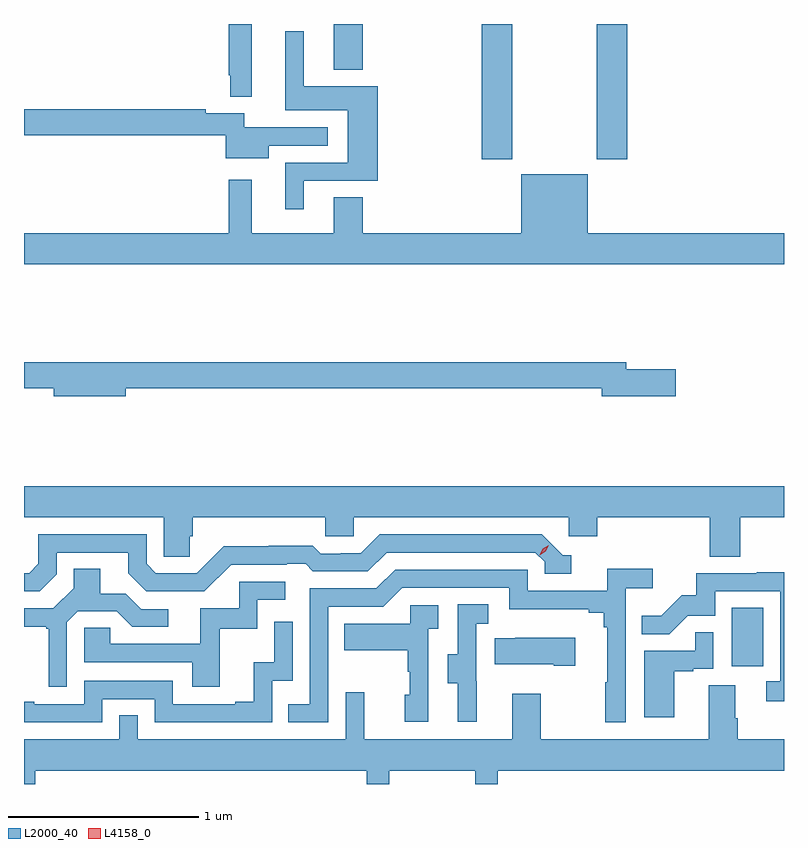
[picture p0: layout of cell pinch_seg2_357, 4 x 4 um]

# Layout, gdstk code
import gdstk
lib = gdstk.Library(unit=1e-6, precision=1e-09)
def R(c, l, rs):  # rectangles x0, y0, x1, y1
    for r in rs: c.add(gdstk.rectangle(r[:2], r[2:], *l))
def P(c, l, *ps):  # polygons
    for p in ps: c.add(gdstk.Polygon(p, *l))
L2000_40 = (2000, 40)
L4158_0 = (4158, 0)

pinch_seg2_357 = lib.new_cell('pinch_seg2_357')
R(pinch_seg2_357, L2000_40, [(1014.512,638.862,1014.676,639.169), (1013.195,641.529,1013.355,642.241), (1013.8,641.529,1013.96,642.241), (1012.415,641.999,1012.568,642.241)])
P(pinch_seg2_357, L2000_40, [(1011.985,642.241),(1011.864,642.241),(1011.864,641.971),(1011.872,641.971),(1011.872,641.859),(1011.985,641.859)],
  [(1012.258,641.415),(1012.649,641.415),(1012.649,641.914),(1012.258,641.914),(1012.258,642.202),(1012.16,642.202),(1012.16,641.786),(1012.49,641.786),(1012.49,641.511),(1012.16,641.511),(1012.16,641.265),(1012.258,641.265)],
  [(1012.075,641.601),(1012.384,641.601),(1012.384,641.697),(1011.945,641.697),(1011.945,641.772),(1011.742,641.772),(1011.742,641.792),(1010.786,641.792),(1010.786,641.656),(1011.849,641.656),(1011.849,641.534),(1012.075,641.534)],
  [(1014.786,641.14),(1013.752,641.14),(1013.752,641.449),(1013.402,641.449),(1013.402,641.14),(1012.568,641.14),(1012.568,641.33),(1012.415,641.33),(1012.415,641.14),(1011.985,641.14),(1011.985,641.422),(1011.864,641.422),(1011.864,641.14),(1010.786,641.14),(1010.786,640.976),(1014.786,640.976)],
  [(1011.322,640.324),(1013.828,640.324),(1013.828,640.282),(1014.217,640.282),(1014.217,640.424),(1013.956,640.424),(1013.956,640.46),(1010.786,640.46),(1010.786,640.324),(1010.942,640.324),(1010.942,640.282),(1011.322,640.282)],
  [(1011.659,639.546),(1011.674,639.546),(1011.674,639.644),(1012.371,639.644),(1012.371,639.546),(1012.521,639.546),(1012.521,639.644),(1013.652,639.644),(1013.652,639.546),(1013.804,639.546),(1013.804,639.644),(1014.395,639.644),(1014.395,639.436),(1014.555,639.436),(1014.555,639.644),(1014.786,639.644),(1014.786,639.808),(1010.786,639.808),(1010.786,639.644),(1011.522,639.644),(1011.522,639.436),(1011.659,639.436)],
  [(1010.958,639.345),(1010.958,639.459),(1011.335,639.459),(1011.335,639.349),(1011.429,639.255),(1011.735,639.255),(1011.876,639.396),(1012.169,639.396),(1012.169,639.399),(1012.268,639.399),(1012.307,639.36),(1012.596,639.36),(1012.695,639.459),(1013.478,639.459),(1013.526,639.411),(1013.526,639.348),(1013.665,639.348),(1013.665,639.444),(1013.622,639.444),(1013.511,639.555),(1012.658,639.555),(1012.559,639.456),(1012.452,639.456),(1012.452,639.453),(1012.349,639.453),(1012.307,639.496),(1012.074,639.496),(1012.074,639.493),(1011.838,639.493),(1011.696,639.351),(1011.48,639.351),(1011.432,639.399),(1011.432,639.555),(1010.862,639.555),(1010.862,639.399),(1010.814,639.351),(1010.786,639.351),(1010.786,639.255),(1010.868,639.255)],
  [(1011.012,639.093),(1011.069,639.15),(1011.275,639.15),(1011.356,639.069),(1011.544,639.069),(1011.544,639.162),(1011.402,639.162),(1011.322,639.242),(1011.187,639.242),(1011.187,639.374),(1011.047,639.374),(1011.047,639.272),(1010.94,639.165),(1010.786,639.165),(1010.786,639.068),(1010.904,639.068),(1010.904,639.057),(1010.915,639.057),(1010.915,638.754),(1011.012,638.754)],
  [(1012.386,639.174),(1012.677,639.174),(1012.776,639.273),(1013.34,639.273),(1013.34,639.161),(1013.759,639.161),(1013.759,639.142),(1013.836,639.142),(1013.836,639.065),(1013.855,639.065),(1013.855,638.777),(1013.844,638.777),(1013.844,638.565),(1013.952,638.565),(1013.952,639.272),(1014.094,639.272),(1014.094,639.374),(1013.855,639.374),(1013.855,639.258),(1013.436,639.258),(1013.436,639.369),(1012.739,639.369),(1012.64,639.27),(1012.29,639.27),(1012.29,638.661),(1012.177,638.661),(1012.177,638.565),(1012.386,638.565)],
  [(1014.786,639.356),(1014.643,639.356),(1014.643,639.351),(1014.325,639.351),(1014.325,639.234),(1014.248,639.234),(1014.141,639.127),(1014.037,639.127),(1014.037,639.028),(1014.181,639.028),(1014.279,639.126),(1014.423,639.126),(1014.423,639.255),(1014.765,639.255),(1014.765,638.781),(1014.693,638.781),(1014.693,638.676),(1014.786,638.676)],
  [(1011.815,639.057),(1012.014,639.057),(1012.014,639.21),(1012.162,639.21),(1012.162,639.306),(1011.918,639.306),(1011.918,639.165),(1011.713,639.165),(1011.713,638.979),(1011.239,638.979),(1011.239,639.063),(1011.102,639.063),(1011.102,638.883),(1011.671,638.883),(1011.671,638.754),(1011.815,638.754)],
  [(1013.168,638.781),(1013.166,638.781),(1013.166,639.085),(1013.23,639.085),(1013.23,639.188),(1013.07,639.188),(1013.07,638.925),(1013.015,638.925),(1013.015,638.77),(1013.069,638.77),(1013.069,638.568),(1013.168,638.568)],
  [(1012.914,639.059),(1012.966,639.059),(1012.966,639.183),(1012.818,639.183),(1012.818,639.085),(1012.471,639.085),(1012.471,638.945),(1012.806,638.945),(1012.806,638.831),(1012.816,638.831),(1012.816,638.712),(1012.79,638.712),(1012.79,638.568),(1012.914,638.568)],
  [(1011.198,638.688),(1011.474,638.688),(1011.474,638.565),(1012.092,638.565),(1012.092,638.784),(1012.2,638.784),(1012.2,639.094),(1012.104,639.094),(1012.104,638.882),(1011.995,638.882),(1011.995,638.674),(1011.899,638.674),(1011.899,638.661),(1011.57,638.661),(1011.57,638.784),(1011.102,638.784),(1011.102,638.661),(1010.839,638.661),(1010.839,638.674),(1010.786,638.674),(1010.786,638.565),(1011.198,638.565)],
  [(1014.208,638.835),(1014.308,638.835),(1014.308,638.847),(1014.414,638.847),(1014.414,639.041),(1014.319,639.041),(1014.319,638.943),(1014.05,638.943),(1014.05,638.592),(1014.208,638.592)],
  [(1013.686,639.01),(1013.371,639.01),(1013.371,639.007),(1013.263,639.007),(1013.263,638.87),(1013.573,638.87),(1013.573,638.863),(1013.686,638.863)],
  [(1010.845,638.312),(1012.591,638.312),(1012.591,638.241),(1012.709,638.241),(1012.709,638.312),(1013.162,638.312),(1013.162,638.241),(1013.279,638.241),(1013.279,638.312),(1014.786,638.312),(1014.786,638.476),(1014.542,638.476),(1014.542,638.588),(1014.529,638.588),(1014.529,638.762),(1014.389,638.762),(1014.389,638.476),(1013.505,638.476),(1013.505,638.716),(1013.357,638.716),(1013.357,638.476),(1012.577,638.476),(1012.577,638.725),(1012.479,638.725),(1012.479,638.476),(1011.384,638.476),(1011.384,638.603),(1011.288,638.603),(1011.288,638.476),(1010.786,638.476),(1010.786,638.241),(1010.845,638.241)])
P(pinch_seg2_357, L4158_0, [(1013.501,639.446),(1013.501,639.446),(1013.517,639.479),(1013.548,639.498),(1013.548,639.498),(1013.548,639.498),(1013.532,639.465),(1013.501,639.446)])

lib.write_gds('pinch_seg2_357.gds')
